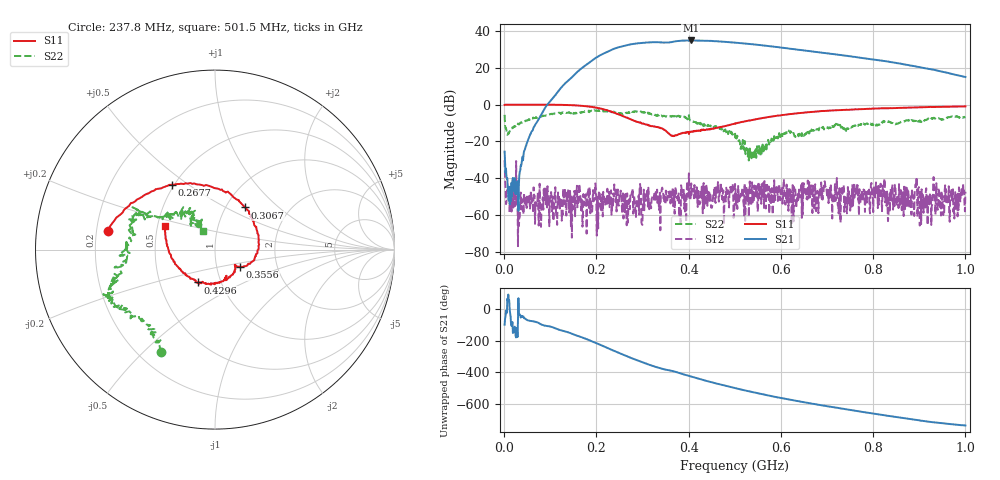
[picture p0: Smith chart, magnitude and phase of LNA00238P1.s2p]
! Created with skrf 1.9.0 (http://scikit-rf.org).
# Hz S RI R 50.0
!freq ReS11 ImS11 ReS21 ImS21 ReS12 ImS12 ReS22 ImS22
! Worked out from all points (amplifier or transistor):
!   1001 points, 1 MHz to 1 GHz, reference 50 ohm
!   highest |S21| = 34.9 dB at 404.6 MHz (marker M1)
!   |S21| within 3 dB of that: 259 MHz to 572 MHz (313.1 MHz wide, 75.3 % of centre)
!   unconditionally stable (mu >= 1): start of sweep to 89.35 MHz; 294.8 MHz to 400.2 MHz; 400.9 MHz to 824.1 MHz (the widest 3 of 32)
!   at 166.8 MHz: K = 2.82, MAG = 31.1 dB, |S12| = -57.5 dB
!   at 500.5 MHz: K = 1.49, MAG = 34.3 dB, |S12| = -43.1 dB
!   at 1 GHz: K = 3.07, MAG = 23.4 dB, |S12| = -47.4 dB
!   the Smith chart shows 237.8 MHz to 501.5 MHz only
!   S11 on the Smith chart (normalised r, x): 237.8 MHz: 0.25, +0.08; 267.7 MHz: 0.49, +0.43; 306.7 MHz: 1.23, +0.63; 355.6 MHz: 1.30, -0.26; 429.6 MHz: 0.78, -0.30; 501.5 MHz: 0.54, +0.16
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1000000  0.9824 0.00369  -0.00703 -0.0523  -0.0269 0.0152  0.3498 0.3948
1.08892e8  0.5061 -0.8522  -0.7982 -1.491  0.0018 -0.000758  0.4169 -0.3811
1.67833e8  -0.2578 -0.8916  -9.717 -0.5053  0.00209 0.00159  0.0436 -0.6317
2.07793e8  -0.6796 -0.3965  -15.46 15.34  -0.00333 6.2e-05  -0.1912 -0.6606
2.37763e8  -0.5983 0.1051  -3.698 32.68  -0.00117 -0.00295  -0.303 -0.5713
2.67733e8  -0.238 0.3614  21.24 35.94  -0.000566 -0.000224  -0.4775 -0.3438
2.85715e8  -0.0142 0.3481  35.52 28.85  0.000878 -2.93e-05  -0.6064 -0.2564
3.06694e8  0.1677 0.2351  46.74 13.05  0.000485 0.00234  -0.5569 -0.1831
3.34666e8  0.2421 0.00101  48.58 -10.11  0.000167 0.00322  -0.5048 -0.0299
3.55645e8  0.1402 -0.0974  43.48 -22.29  -0.004 0.00143  -0.4589 0.0797
3.77623e8  0.114 -0.1047  39.22 -36.76  8.72e-05 0.00314  -0.4609 0.1892
4.04596e8  0.034 -0.179  20.95 -51.43  0.000856 0.00378  -0.3203 0.1793
4.29571e8  -0.0931 -0.1831  1.682 -54.49  0.00287 0.00584  -0.1882 0.171
4.59541e8  -0.2158 -0.0855  -19.57 -49.11  0.00479 0.00302  -0.1579 0.2066
5.005e8  -0.275 0.1182  -38.27 -30.32  -0.00695 0.000563  -0.0926 0.146
5.01499e8  -0.2809 0.1333  -38.22 -29.57  0.00507 0.00257  -0.0675 0.1054
5.41459e8  -0.2009 0.3341  -42.55 -8.532  0.000465 -0.00248  -0.0366 0.00648
5.88412e8  0.00512 0.4927  -35.42 11.5  0.00353 -0.00425  -0.0937 -0.0781
6.67333e8  0.3887 0.5013  -13.68 24.17  0.000699 -0.00432  -0.1886 -0.047
7.53247e8  0.6754 0.2886  4.204 19.87  0.000185 -0.0015  -0.2416 -0.0101
8.34166e8  0.7991 0.0209  11.04 9.663  0.00245 -0.00232  -0.3337 -0.0349
1e9  0.7306 -0.5162  5.319 -1.869  0.000991 0.00415  -0.3873 0.2404
